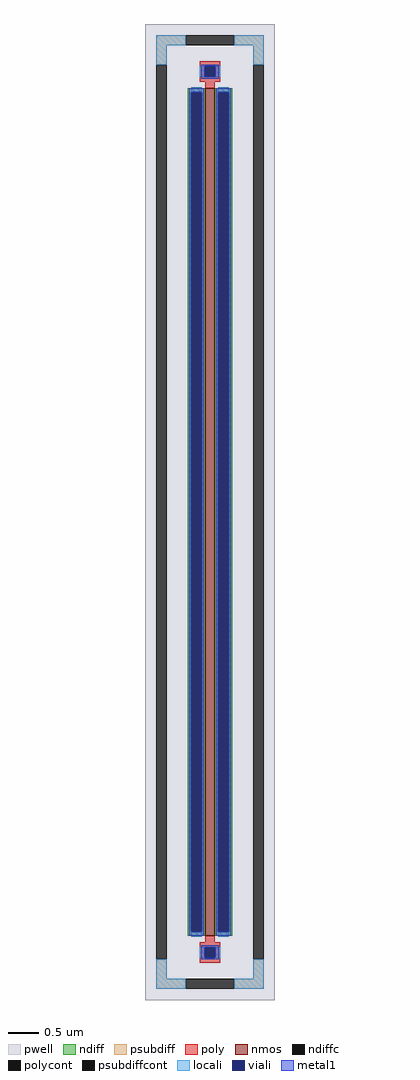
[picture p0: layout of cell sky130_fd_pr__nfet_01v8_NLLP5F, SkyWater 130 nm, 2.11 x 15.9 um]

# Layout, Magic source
magic
tech sky130A
magscale 1 2
<< pwell >>
rect -211 -1590 211 1590
<< nmos >>
rect -15 -1380 15 1380
<< ndiff >>
rect -73 1368 -15 1380
rect -73 -1368 -61 1368
rect -27 -1368 -15 1368
rect -73 -1380 -15 -1368
rect 15 1368 73 1380
rect 15 -1368 27 1368
rect 61 -1368 73 1368
rect 15 -1380 73 -1368
<< ndiffc >>
rect -61 -1368 -27 1368
rect 27 -1368 61 1368
<< psubdiff >>
rect -175 1520 -79 1554
rect 79 1520 175 1554
rect -175 1458 -141 1520
rect 141 1458 175 1520
rect -175 -1520 -141 -1458
rect 141 -1520 175 -1458
rect -175 -1554 -79 -1520
rect 79 -1554 175 -1520
<< psubdiffcont >>
rect -79 1520 79 1554
rect -175 -1458 -141 1458
rect 141 -1458 175 1458
rect -79 -1554 79 -1520
<< poly >>
rect -33 1452 33 1468
rect -33 1418 -17 1452
rect 17 1418 33 1452
rect -33 1402 33 1418
rect -15 1380 15 1402
rect -15 -1402 15 -1380
rect -33 -1418 33 -1402
rect -33 -1452 -17 -1418
rect 17 -1452 33 -1418
rect -33 -1468 33 -1452
<< polycont >>
rect -17 1418 17 1452
rect -17 -1452 17 -1418
<< locali >>
rect -175 1520 -79 1554
rect 79 1520 175 1554
rect -175 1458 -141 1520
rect 141 1458 175 1520
rect -33 1418 -17 1452
rect 17 1418 33 1452
rect -61 1368 -27 1384
rect -61 -1384 -27 -1368
rect 27 1368 61 1384
rect 27 -1384 61 -1368
rect -33 -1452 -17 -1418
rect 17 -1452 33 -1418
rect -175 -1520 -141 -1458
rect 141 -1520 175 -1458
rect -175 -1554 -79 -1520
rect 79 -1554 175 -1520
<< viali >>
rect -17 1418 17 1452
rect -61 -1368 -27 1368
rect 27 -1368 61 1368
rect -17 -1452 17 -1418
<< metal1 >>
rect -29 1452 29 1458
rect -29 1418 -17 1452
rect 17 1418 29 1452
rect -29 1412 29 1418
rect -67 1368 -21 1380
rect -67 -1368 -61 1368
rect -27 -1368 -21 1368
rect -67 -1380 -21 -1368
rect 21 1368 67 1380
rect 21 -1368 27 1368
rect 61 -1368 67 1368
rect 21 -1380 67 -1368
rect -29 -1418 29 -1412
rect -29 -1452 -17 -1418
rect 17 -1452 29 -1418
rect -29 -1458 29 -1452
<< properties >>
string FIXED_BBOX -158 -1537 158 1537
string gencell sky130_fd_pr__nfet_01v8
string library sky130
string parameters w 13.8 l 0.15 m 1 nf 1 diffcov 100 polycov 100 guard 1 glc 1 grc 1 gtc 1 gbc 1 tbcov 100 rlcov 100 topc 1 botc 1 poverlap 0 doverlap 1 lmin 0.15 wmin 0.42 compatible {sky130_fd_pr__nfet_01v8 sky130_fd_pr__nfet_01v8_lvt  sky130_fd_bs_flash__special_sonosfet_star  sky130_fd_pr__nfet_g5v0d10v5 sky130_fd_pr__nfet_05v0_nvt  sky130_fd_pr__nfet_03v3_nvt} full_metal 1 viasrc 100 viadrn 100 viagate 100 viagb 0 viagr 0 viagl 0 viagt 0
<< end >>
